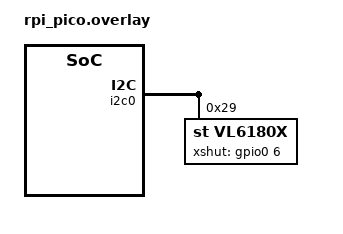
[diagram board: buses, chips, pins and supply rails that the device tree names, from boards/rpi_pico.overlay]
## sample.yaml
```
sample:
  name: Sample for MEMS sensors VL6180X
tests:
  sample.sensor.vl6180x:
    build_only: true
    depends_on: i2c vl6180x
    tags: sensors
```

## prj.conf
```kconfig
CONFIG_STDOUT_CONSOLE=y
CONFIG_I2C=y
CONFIG_GPIO=y
CONFIG_SENSOR=y
CONFIG_VL6180X_PROXIMITY_THRESHOLD=100

#debug
#CONFIG_DEBUG=y
#CONFIG_LOG=y
#CONFIG_SENSOR_LOG_LEVEL_DBG=y
CONFIG_CBPRINTF_FP_SUPPORT=y
```

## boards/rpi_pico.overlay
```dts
/*
 * Copyright (c) 2022, Kamil Serwus
 *
 * SPDX-License-Identifier: Apache-2.0
 */

&i2c0 {
	vl6180x@29 {
		compatible = "st,vl6180x";
		reg = <0x29>;
		xshut-gpios = <&gpio0 6 (GPIO_ACTIVE_HIGH)>;
	};
	status = "okay";
};
```

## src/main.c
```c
/*
 * Copyright (c) 2017 STMicroelectronics
 *
 * SPDX-License-Identifier: Apache-2.0
 */

#include <zephyr/kernel.h>
#include <zephyr/device.h>
#include <zephyr/drivers/sensor.h>
#include <stdio.h>
#include <zephyr/sys/printk.h>

void main(void)
{
	const struct device *const dev = DEVICE_DT_GET_ONE(st_vl6180x);
	struct sensor_value value;
	int ret;

	if (!device_is_ready(dev)) {
		printk("sensor: device not ready.\n");
		return;
	}

	while (1) {
		ret = sensor_sample_fetch(dev);
		if (ret) {
			printk("sensor_sample_fetch failed ret %d\n", ret);
			return;
		}

		ret = sensor_channel_get(dev, SENSOR_CHAN_PROX, &value);
		printk("prox is %d\n", value.val1);

		ret = sensor_channel_get(dev,
					 SENSOR_CHAN_DISTANCE,
					 &value);
		printf("distance is %.3fm\n", sensor_value_to_double(&value));

		k_sleep(K_MSEC(1000));
	}
}
```
